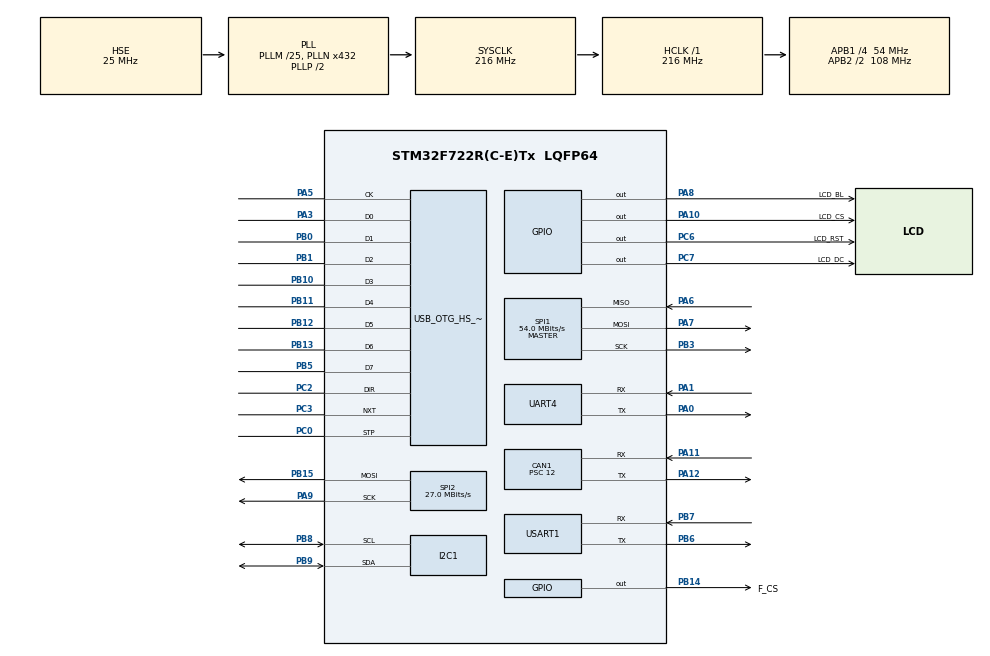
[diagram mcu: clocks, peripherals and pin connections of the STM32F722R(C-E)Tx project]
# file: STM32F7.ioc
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CAN1.ABOM=ENABLE
CAN1.AWUM=ENABLE
CAN1.BS1=CAN_BS1_5TQ
CAN1.BS2=CAN_BS2_3TQ
CAN1.CalculateBaudRate=500000
CAN1.CalculateTimeBit=2000
CAN1.CalculateTimeQuantum=222.22222222222223
CAN1.NART=ENABLE
CAN1.Prescaler=12
CAN1.TXFP=ENABLE
CORTEX_M7.default_mode_Activation=1
Dma.Request0=SPI1_TX
Dma.Request1=SPI2_TX
Dma.SPI1_TX.0.Direction=DMA_MEMORY_TO_PERIPH
Dma.SPI1_TX.0.FIFOMode=DMA_FIFOMODE_DISABLE
Dma.SPI1_TX.0.Instance=DMA2_Stream3
Dma.SPI1_TX.0.MemDataAlignment=DMA_MDATAALIGN_BYTE
Dma.SPI1_TX.0.MemInc=DMA_MINC_ENABLE
Dma.SPI1_TX.0.Mode=DMA_CIRCULAR
Dma.SPI1_TX.0.PeriphDataAlignment=DMA_PDATAALIGN_BYTE
Dma.SPI1_TX.0.PeriphInc=DMA_PINC_DISABLE
Dma.SPI1_TX.0.Priority=DMA_PRIORITY_LOW
Dma.SPI2_TX.1.Direction=DMA_MEMORY_TO_PERIPH
Dma.SPI2_TX.1.FIFOMode=DMA_FIFOMODE_DISABLE
Dma.SPI2_TX.1.Instance=DMA1_Stream4
Dma.SPI2_TX.1.MemDataAlignment=DMA_MDATAALIGN_HALFWORD
Dma.SPI2_TX.1.MemInc=DMA_MINC_ENABLE
Dma.SPI2_TX.1.Mode=DMA_NORMAL
Dma.SPI2_TX.1.PeriphDataAlignment=DMA_PDATAALIGN_HALFWORD
Dma.SPI2_TX.1.PeriphInc=DMA_PINC_DISABLE
Dma.SPI2_TX.1.Priority=DMA_PRIORITY_VERY_HIGH
FREERTOS.Tasks01=defaultTask,0,128,StartDefaultTask,Default,NULL,Dynamic,NULL,NULL;myTask02,0,128,screen_task,Default,NULL,Dynamic,NULL,NULL
I2C1.Timing=0x20404768
Mcu.Family=STM32F7
Mcu.Name=STM32F722R(C-E)Tx
Mcu.Package=LQFP64
NVIC.CAN1_RX0_IRQn=true\:5\:0\:false\:false\:true\:true\:true\:true\:true
NVIC.DMA1_Stream4_IRQn=true\:5\:0\:false\:false\:true\:true\:false\:true\:true
NVIC.DMA2_Stream3_IRQn=true\:5\:0\:false\:false\:true\:true\:false\:true\:true
NVIC.OTG_HS_IRQn=true\:5\:0\:false\:false\:true\:true\:true\:true\:true
NVIC.PriorityGroup=NVIC_PRIORITYGROUP_4
NVIC.TIM8_TRG_COM_TIM14_IRQn=true\:15\:0\:false\:false\:true\:false\:false\:true\:true
NVIC.TimeBase=TIM8_TRG_COM_TIM14_IRQn
NVIC.TimeBaseIP=TIM14
PA0-WKUP.Mode=Asynchronous
PA0-WKUP.Signal=UART4_TX
PA1.Mode=Asynchronous
PA1.Signal=UART4_RX
PA10.GPIO_Label=LCD_CS
PA10.Signal=GPIO_Output
PA11.Mode=CAN_Activate
PA11.Signal=CAN1_RX
PA12.Mode=CAN_Activate
PA12.Signal=CAN1_TX
PA13.Mode=Serial_Wire
PA13.Signal=SYS_JTMS-SWDIO
PA14.Mode=Serial_Wire
PA14.Signal=SYS_JTCK-SWCLK
PA3.Mode=External_Phy_Device
PA3.Signal=USB_OTG_HS_ULPI_D0
PA5.Mode=External_Phy_Device
PA5.Signal=USB_OTG_HS_ULPI_CK
PA6.Mode=Full_Duplex_Master
PA6.Signal=SPI1_MISO
PA7.Mode=Full_Duplex_Master
PA7.Signal=SPI1_MOSI
PA8.GPIO_Label=LCD_BL
PA8.GPIO_PuPd=GPIO_NOPULL
PA8.PinState=GPIO_PIN_RESET
PA8.Signal=GPIO_Output
PA9.Mode=TX_Only_Simplex_Unidirect_Master
PA9.Signal=SPI2_SCK
PB0.Mode=External_Phy_Device
PB0.Signal=USB_OTG_HS_ULPI_D1
PB1.Mode=External_Phy_Device
PB1.Signal=USB_OTG_HS_ULPI_D2
PB10.Mode=External_Phy_Device
PB10.Signal=USB_OTG_HS_ULPI_D3
PB11.Mode=External_Phy_Device
PB11.Signal=USB_OTG_HS_ULPI_D4
PB12.Mode=External_Phy_Device
PB12.Signal=USB_OTG_HS_ULPI_D5
PB13.Mode=External_Phy_Device
PB13.Signal=USB_OTG_HS_ULPI_D6
PB14.GPIO_Label=F_CS
PB14.Signal=GPIO_Output
PB15.Mode=TX_Only_Simplex_Unidirect_Master
PB15.Signal=SPI2_MOSI
PB3.Mode=Full_Duplex_Master
PB3.Signal=SPI1_SCK
PB5.Mode=External_Phy_Device
PB5.Signal=USB_OTG_HS_ULPI_D7
PB6.Mode=Asynchronous
PB6.Signal=USART1_TX
PB7.Mode=Asynchronous
PB7.Signal=USART1_RX
PB8.Mode=I2C
PB8.Signal=I2C1_SCL
PB9.Mode=I2C
PB9.Signal=I2C1_SDA
PC0.Mode=External_Phy_Device
PC0.Signal=USB_OTG_HS_ULPI_STP
PC2.Mode=External_Phy_Device
PC2.Signal=USB_OTG_HS_ULPI_DIR
PC3.Mode=External_Phy_Device
PC3.Signal=USB_OTG_HS_ULPI_NXT
PC6.GPIO_Label=LCD_RST
PC6.Signal=GPIO_Output
PC7.GPIO_Label=LCD_DC
PC7.Signal=GPIO_Output
PH0-OSC_IN.Mode=HSE-External-Oscillator
PH0-OSC_IN.Signal=RCC_OSC_IN
PH1-OSC_OUT.Mode=HSE-External-Oscillator
PH1-OSC_OUT.Signal=RCC_OSC_OUT
ProjectManager.HeapSize=0x600
ProjectManager.StackSize=0x400
ProjectManager.TargetToolchain=MDK-ARM V5.32
RCC.AHBFreq_Value=216000000
RCC.APB1CLKDivider=RCC_HCLK_DIV4
RCC.APB1Freq_Value=54000000
RCC.APB1TimFreq_Value=108000000
RCC.APB2CLKDivider=RCC_HCLK_DIV2
RCC.APB2Freq_Value=108000000
RCC.APB2TimFreq_Value=216000000
RCC.CortexFreq_Value=216000000
RCC.HCLKFreq_Value=216000000
RCC.HSE_VALUE=25000000
RCC.HSI_VALUE=16000000
RCC.LSE_VALUE=32768
RCC.PLLM=25
RCC.PLLN=432
RCC.PLLSourceVirtual=RCC_PLLSOURCE_HSE
RCC.SYSCLKFreq_VALUE=216000000
RCC.SYSCLKSource=RCC_SYSCLKSOURCE_PLLCLK
RCC.USBFreq_Value=216000000
RCC.VCOOutputFreq_Value=432000000
SPI1.BaudRatePrescaler=SPI_BAUDRATEPRESCALER_2
SPI1.CalculateBaudRate=54.0 MBits/s
SPI1.DataSize=SPI_DATASIZE_8BIT
SPI1.Direction=SPI_DIRECTION_2LINES
SPI1.Mode=SPI_MODE_MASTER
SPI1.VirtualType=VM_MASTER
SPI2.BaudRatePrescaler=SPI_BAUDRATEPRESCALER_2
SPI2.CalculateBaudRate=27.0 MBits/s
SPI2.DataSize=SPI_DATASIZE_8BIT
SPI2.Direction=SPI_DIRECTION_2LINES
SPI2.Mode=SPI_MODE_MASTER
SPI2.VirtualType=VM_MASTER
USART1.VirtualMode-Asynchronous=VM_ASYNC
USB_DEVICE.APP_RX_DATA_SIZE-CDC_HS=512
USB_DEVICE.APP_TX_DATA_SIZE-CDC_HS=512
USB_DEVICE.CLASS_NAME_HS=CDC
USB_DEVICE.VirtualMode-CDC_HS=Cdc
USB_DEVICE.VirtualModeHS=Cdc_HS
USB_OTG_HS.VirtualMode-External_Phy_Device=Ext_Phy_Device
VP_FREERTOS_VS_CMSIS_V1.Mode=CMSIS_V1
VP_SYS_VS_tim14.Mode=TIM14
VP_USB_DEVICE_VS_USB_DEVICE_CDC_HS.Mode=CDC_HS
board=custom

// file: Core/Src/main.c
/* USER CODE BEGIN Header */
/**
  ******************************************************************************
  * @file           : main.c
  * @brief          : Main program body
  ******************************************************************************
  * @attention
  *
  * Copyright (c) 2024 STMicroelectronics.
  * All rights reserved.
  *
  * This software is licensed under terms that can be found in the LICENSE file
  * in the root directory of this software component.
  * If no LICENSE file comes with this software, it is provided AS-IS.
  *
  ******************************************************************************
  */
/* USER CODE END Header */
#include "main.h"
#include "cmsis_os.h"
#include "can.h"
#include "dma.h"
#include "i2c.h"
#include "spi.h"
#include "usart.h"
#include "usb_device.h"
#include "gpio.h"

/* USER CODE BEGIN Includes */
#include "screen.h"
#include "image.h"
#include "configurations.h"
#include "User_usb.h"

/* USER CODE END Includes */

/* USER CODE BEGIN PM */
extern uint8_t gImage_1[4][43200];
extern uint8_t gImage_2[4][43200];
extern USBD_HandleTypeDef hUsbDeviceHS;
extern USBD_CDC_HandleTypeDef *hcdc;
/* USER CODE END PM */

void SystemClock_Config(void);
static void MPU_Config(void);
void MX_FREERTOS_Init(void);

int main(void)
{

  /* MPU Configuration--------------------------------------------------------*/
  MPU_Config();

  /* MCU Configuration--------------------------------------------------------*/

  /* Reset of all peripherals, Initializes the Flash interface and the Systick. */
  HAL_Init();

  /* Configure the system clock */
  SystemClock_Config();

  /* Initialize all configured peripherals */
  MX_GPIO_Init();
  MX_DMA_Init();
  MX_CAN1_Init();
  MX_I2C1_Init();
  MX_UART4_Init();
  MX_USART1_UART_Init();
  MX_SPI1_Init();
  MX_SPI2_Init();
  /* USER CODE BEGIN 2 */
	CAN1_Filterinit_And_Start();
	screen_init(2);
	Screen_SetWindow(0, 239, 0, 239);

  /* USER CODE END 2 */

  /* Call init function for freertos objects (in cmsis_os2.c) */
  MX_FREERTOS_Init();

  /* Start scheduler */
  osKernelStart();

  /* We should never get here as control is now taken by the scheduler */

  /* Infinite loop */
  while (1)
  {

  }
}

void SystemClock_Config(void)
{
  RCC_OscInitTypeDef RCC_OscInitStruct = {0};
  RCC_ClkInitTypeDef RCC_ClkInitStruct = {0};

  /** Configure the main internal regulator output voltage
  */
  __HAL_RCC_PWR_CLK_ENABLE();
  __HAL_PWR_VOLTAGESCALING_CONFIG(PWR_REGULATOR_VOLTAGE_SCALE1);

  /** Initializes the RCC Oscillators according to the specified parameters
  * in the RCC_OscInitTypeDef structure.
  */
  RCC_OscInitStruct.OscillatorType = RCC_OSCILLATORTYPE_HSE;
  RCC_OscInitStruct.HSEState = RCC_HSE_ON;
  RCC_OscInitStruct.PLL.PLLState = RCC_PLL_ON;
  RCC_OscInitStruct.PLL.PLLSource = RCC_PLLSOURCE_HSE;
  RCC_OscInitStruct.PLL.PLLM = 25;
  RCC_OscInitStruct.PLL.PLLN = 432;
  RCC_OscInitStruct.PLL.PLLP = RCC_PLLP_DIV2;
  RCC_OscInitStruct.PLL.PLLQ = 2;
  if (HAL_RCC_OscConfig(&RCC_OscInitStruct) != HAL_OK)
  {
    Error_Handler();
  }

  /** Activate the Over-Drive mode
  */
  if (HAL_PWREx_EnableOverDrive() != HAL_OK)
  {
    Error_Handler();
  }

  /** Initializes the CPU, AHB and APB buses clocks
  */
  RCC_ClkInitStruct.ClockType = RCC_CLOCKTYPE_HCLK|RCC_CLOCKTYPE_SYSCLK
                              |RCC_CLOCKTYPE_PCLK1|RCC_CLOCKTYPE_PCLK2;
  RCC_ClkInitStruct.SYSCLKSource = RCC_SYSCLKSOURCE_PLLCLK;
  RCC_ClkInitStruct.AHBCLKDivider = RCC_SYSCLK_DIV1;
  RCC_ClkInitStruct.APB1CLKDivider = RCC_HCLK_DIV4;
  RCC_ClkInitStruct.APB2CLKDivider = RCC_HCLK_DIV2;

  if (HAL_RCC_ClockConfig(&RCC_ClkInitStruct, FLASH_LATENCY_7) != HAL_OK)
  {
    Error_Handler();
  }
}

 /* MPU Configuration */

void MPU_Config(void)
{
  MPU_Region_InitTypeDef MPU_InitStruct = {0};

  /* Disables the MPU */
  HAL_MPU_Disable();

  /** Initializes and configures the Region and the memory to be protected
  */
  MPU_InitStruct.Enable = MPU_REGION_ENABLE;
  MPU_InitStruct.Number = MPU_REGION_NUMBER0;
  MPU_InitStruct.BaseAddress = 0x0;
  MPU_InitStruct.Size = MPU_REGION_SIZE_4GB;
  MPU_InitStruct.SubRegionDisable = 0x87;
  MPU_InitStruct.TypeExtField = MPU_TEX_LEVEL0;
  MPU_InitStruct.AccessPermission = MPU_REGION_NO_ACCESS;
  MPU_InitStruct.DisableExec = MPU_INSTRUCTION_ACCESS_DISABLE;
  MPU_InitStruct.IsShareable = MPU_ACCESS_SHAREABLE;
  MPU_InitStruct.IsCacheable = MPU_ACCESS_NOT_CACHEABLE;
  MPU_InitStruct.IsBufferable = MPU_ACCESS_NOT_BUFFERABLE;

  HAL_MPU_ConfigRegion(&MPU_InitStruct);
  /* Enables the MPU */
  HAL_MPU_Enable(MPU_PRIVILEGED_DEFAULT);

}

void HAL_TIM_PeriodElapsedCallback(TIM_HandleTypeDef *htim)
{
  if (htim->Instance == TIM14) {
    HAL_IncTick();
  }
}

void Error_Handler(void)
{
  __disable_irq();
  while (1)
  {
  }
}

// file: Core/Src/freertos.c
/* USER CODE BEGIN Header */
/**
  ******************************************************************************
  * File Name          : freertos.c
  * Description        : Code for freertos applications
  ******************************************************************************
  * @attention
  *
  * Copyright (c) 2024 STMicroelectronics.
  * All rights reserved.
  *
  * This software is licensed under terms that can be found in the LICENSE file
  * in the root directory of this software component.
  * If no LICENSE file comes with this software, it is provided AS-IS.
  *
  ******************************************************************************
  */
/* USER CODE END Header */

#include "FreeRTOS.h"
#include "task.h"
#include "main.h"
#include "cmsis_os.h"

/* USER CODE BEGIN Includes */
#include "screen.h"
#include "can.h"
#include "image.h"
#include "User_usb.h"
#include "configurations.h"
/* USER CODE END Includes */

osThreadId defaultTaskHandle;
osThreadId myTask02Handle;

void StartDefaultTask(void const * argument);
void screen_task(void const * argument);

extern void MX_USB_DEVICE_Init(void);
void MX_FREERTOS_Init(void); /* (MISRA C 2004 rule 8.1) */

/* GetIdleTaskMemory prototype (linked to static allocation support) */
void vApplicationGetIdleTaskMemory( StaticTask_t **ppxIdleTaskTCBBuffer, StackType_t **ppxIdleTaskStackBuffer, uint32_t *pulIdleTaskStackSize );

/* USER CODE BEGIN GET_IDLE_TASK_MEMORY */
static StaticTask_t xIdleTaskTCBBuffer;
static StackType_t xIdleStack[configMINIMAL_STACK_SIZE];

void vApplicationGetIdleTaskMemory( StaticTask_t **ppxIdleTaskTCBBuffer, StackType_t **ppxIdleTaskStackBuffer, uint32_t *pulIdleTaskStackSize )
{
  *ppxIdleTaskTCBBuffer = &xIdleTaskTCBBuffer;
  *ppxIdleTaskStackBuffer = &xIdleStack[0];
  *pulIdleTaskStackSize = configMINIMAL_STACK_SIZE;
  /* place for user code */
}
/* USER CODE END GET_IDLE_TASK_MEMORY */

void MX_FREERTOS_Init(void) {

  /* Create the thread(s) */
  /* definition and creation of defaultTask */
  osThreadDef(defaultTask, StartDefaultTask, osPriorityNormal, 0, 128);
  defaultTaskHandle = osThreadCreate(osThread(defaultTask), NULL);

  /* definition and creation of myTask02 */
  osThreadDef(myTask02, screen_task, osPriorityNormal, 0, 128);
  myTask02Handle = osThreadCreate(osThread(myTask02), NULL);

}

/* USER CODE BEGIN Header_StartDefaultTask */
bool User_Usb_Finish;
int cnty=0;
uint8_t isEnabled;
/**
  * @brief  Function implementing the defaultTask thread.
  * @param  argument: Not used
  * @retval None
  */
/* USER CODE END Header_StartDefaultTask */
void StartDefaultTask(void const * argument)
{
  /* init code for USB_DEVICE */
  MX_USB_DEVICE_Init();
  /* USER CODE BEGIN StartDefaultTask */
  /* Infinite loop */
  for(;;)
  {
		cnty++;
    if(User_Usb_Finish==1)
    {
      // get joint angles
      uint8_t* ptr = GetExtraDataRxPtr();
			memcpy(&boardConfig[0].target_angle, ptr + 1, sizeof(float));

      if (isEnabled != (bool) ptr[0])
      {
          isEnabled = ptr[0];
          Can_Send_uint8(0x01,0x13,isEnabled);
          Can_Send_uint8(0x06,0x13,isEnabled);
          Can_Send_uint8(0x03,0x13,isEnabled);
          Can_Send_uint8(0x04,0x13,isEnabled);
          Can_Send_uint8(0x05,0x13,isEnabled);
          Can_Send_uint8(0x02,0x13,isEnabled);
      }
			Can_Send_float(1,0x14,boardConfig[0].target_angle);

//      for (int j = 0; j < 6; j++)
//      {
//        boardConfig[j].target_angle=*((float*) (ptr + 4 * j + 1));
//      }
      User_Usb_Finish=0;
    }

    osDelay(1);
  }
  /* USER CODE END StartDefaultTask */
}

/* USER CODE BEGIN Header_screen_task */
/**
* @brief Function implementing the myTask02 thread.
* @param argument: Not used
* @retval None
*/
extern uint8_t gImage_1[4][43200];
extern uint8_t gImage_2[4][43200];

extern bool Screen_isBusy;

extern BoardConfig_t boardConfig[6];
extern struct UsbBuffer_t usbBuffer;

/* USER CODE END Header_screen_task */
void screen_task(void const * argument)
{
  /* USER CODE BEGIN screen_task */
  static int p=0;
  /* Infinite loop */
  for(;;)
  {

//		if(cnt==0)
//		{
//			for (int p = 0; p < 4; p++)
//			{
//        while (Screen_isBusy);
//			if (p == 0)
//					Screen_WriteFrameBuffer(gImage_1[0],43200,0);
//			else
//					Screen_WriteFrameBuffer(gImage_1[p],43200, true);
//			}
//			cnt=2;
//		}
//		else if(cnt==1){
//			for (int p = 0; p < 4; p++)
//			{
//        while (Screen_isBusy);
//			if (p == 0)
//					Screen_WriteFrameBuffer(gImage_2[0],43200,0);
//			else
//					Screen_WriteFrameBuffer(gImage_2[p],43200, true);
//			}
//			HAL_GPIO_WritePin(GPIOA,GPIO_PIN_8,GPIO_PIN_SET);
//			cnt=2;
//		}
		HAL_GPIO_WritePin(GPIOA,GPIO_PIN_8,GPIO_PIN_SET);
		for (int p = 0; p < 4; p++)
		{
        // send joint angles

        for (int j = 0; j < 6; j++)
            for (int i = 0; i < 4; i++)
            {
                unsigned char* b = (unsigned char*) &(boardConfig[j].actual_angle);
                usbBuffer.extraDataTx[j * 4 + i + 1] = *(b + i);

            }
				SendUsbPacket(usbBuffer.extraDataTx, 32);

				ReceiveUsbPacketUntilSizeIs(224); // last packet is 224bytes
        User_Usb_Finish=1;

        if(Screen_isBusy==0)
        {
          if (p == 0)
              Screen_WriteFrameBuffer(GetLcdBufferPtr(),
                                            60 * 240 * 3,0);
          else
              Screen_WriteFrameBuffer(GetLcdBufferPtr(),
                                            60 * 240 * 3, true);
        }

		}
		//Can_Send_uint8(1,0x13,cnt12);
		//Can_Send_float(1,0x14,cnt026);
    osDelay(1);
  }
  /* USER CODE END screen_task */
}
